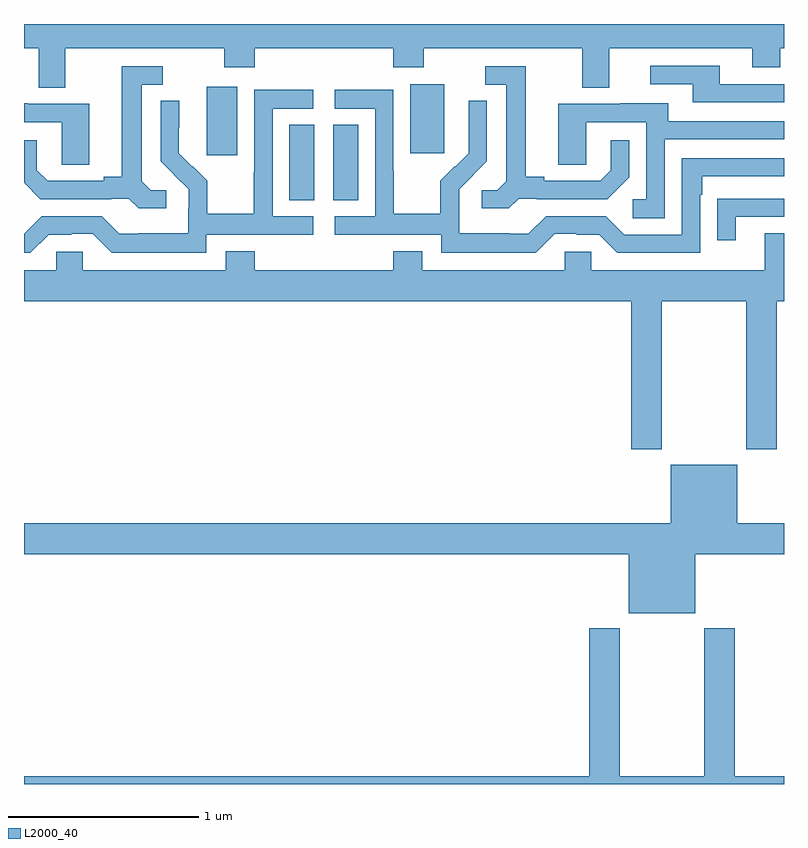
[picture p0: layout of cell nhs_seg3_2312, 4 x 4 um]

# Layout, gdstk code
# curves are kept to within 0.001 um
import gdstk
lib = gdstk.Library(unit=1e-6, precision=1e-09)
def R(c, l, rs):  # rectangles x0, y0, x1, y1
    for r in rs: c.add(gdstk.rectangle(r[:2], r[2:], *l))
def P(c, l, *ps):  # polygons
    for p in ps: c.add(gdstk.Polygon(p, *l))
L2000_40 = (2000, 40)

nhs_seg3_2312 = lib.new_cell('nhs_seg3_2312')
R(nhs_seg3_2312, L2000_40, [(232.397,677.473,232.528,677.87), (232.628,677.473,232.759,677.87), (231.962,677.709,232.123,678.07), (233.033,677.721,233.212,678.082)])
P(nhs_seg3_2312, L2000_40, [(231.217,678.272),(232.054,678.272),(232.054,678.173),(232.214,678.173),(232.214,678.272),(232.943,678.272),(232.943,678.173),(233.103,678.173),(233.103,678.272),(233.939,678.272),(233.939,678.064),(234.079,678.064),(234.079,678.272),(234.833,678.272),(234.833,678.173),(234.981,678.173),(234.981,678.272),(235,678.272),(235,678.4),(231,678.4),(231,678.272),(231.077,678.272),(231.077,678.064),(231.217,678.064)],
  [(235,678.084),(234.661,678.084),(234.661,678.18),(234.297,678.18),(234.297,678.084),(234.521,678.084),(234.521,677.988),(235,677.988)],
  [(233.604,677.481),(233.698,677.481),(233.698,677.478),(234.07,677.478),(234.186,677.594),(234.186,677.788),(234.089,677.788),(234.089,677.631),(234.032,677.574),(233.737,677.574),(233.737,677.597),(233.641,677.597),(233.641,678.177),(233.427,678.177),(233.427,678.081),(233.537,678.081),(233.537,677.573),(233.49,677.526),(233.409,677.526),(233.409,677.429),(233.552,677.429)],
  [(231.748,677.526),(231.666,677.526),(231.619,677.573),(231.619,678.081),(231.73,678.081),(231.73,678.177),(231.515,678.177),(231.515,677.597),(231.419,677.597),(231.419,677.574),(231.124,677.574),(231.067,677.631),(231.067,677.788),(231,677.788),(231,677.564),(231.086,677.478),(231.458,677.478),(231.458,677.481),(231.552,677.481),(231.604,677.429),(231.748,677.429)],
  [(233.793,677.295),(233.909,677.295),(233.909,677.292),(234.027,677.292),(234.123,677.196),(234.558,677.196),(234.558,677.501),(234.571,677.501),(234.571,677.598),(235,677.598),(235,677.694),(234.462,677.694),(234.462,677.292),(234.159,677.292),(234.063,677.388),(233.748,677.388),(233.655,677.295),(233.555,677.295),(233.555,677.299),(233.292,677.299),(233.292,677.433),(233.29,677.433),(233.29,677.53),(233.436,677.678),(233.436,677.996),(233.34,677.996),(233.34,677.842),(233.342,677.842),(233.342,677.72),(233.271,677.649),(233.268,677.652),(233.191,677.575),(233.191,677.401),(232.947,677.401),(232.947,677.624),(232.944,677.624),(232.944,678.054),(232.635,678.054),(232.635,677.955),(232.848,677.955),(232.848,677.388),(232.635,677.388),(232.635,677.292),(233.196,677.292),(233.196,677.195),(233.693,677.195)],
  [(231.96,677.292),(232.522,677.292),(232.522,677.388),(232.308,677.388),(232.308,677.955),(232.522,677.955),(232.522,678.054),(232.212,678.054),(232.212,677.621),(232.21,677.621),(232.21,677.401),(231.965,677.401),(231.965,677.575),(231.888,677.652),(231.885,677.649),(231.815,677.72),(231.815,677.855),(231.817,677.855),(231.817,677.996),(231.72,677.996),(231.72,677.678),(231.866,677.53),(231.866,677.433),(231.864,677.433),(231.864,677.299),(231.601,677.299),(231.601,677.295),(231.501,677.295),(231.408,677.388),(231.093,677.388),(231,677.295),(231,677.196),(231.033,677.196),(231.129,677.292),(231.248,677.292),(231.248,677.295),(231.363,677.295),(231.463,677.195),(231.96,677.195)],
  [(234.372,677.793),(235,677.793),(235,677.889),(234.391,677.889),(234.391,677.983),(234.137,677.983),(234.137,677.979),(233.813,677.979),(233.813,677.659),(233.958,677.659),(233.958,677.883),(234.276,677.883),(234.276,677.478),(234.204,677.478),(234.204,677.377),(234.372,677.377)],
  [(231.343,677.979),(231.019,677.979),(231.019,677.983),(231,677.983),(231,677.883),(231.198,677.883),(231.198,677.659),(231.343,677.659)],
  [(234.745,677.385),(235,677.385),(235,677.481),(234.751,677.481),(234.751,677.48),(234.649,677.48),(234.649,677.262),(234.745,677.262)],
  [(234.357,676.94),(234.802,676.94),(234.802,676.161),(234.962,676.161),(234.962,676.94),(235,676.94),(235,677.299),(234.899,677.299),(234.899,677.104),(233.985,677.104),(233.985,677.202),(233.847,677.202),(233.847,677.104),(233.095,677.104),(233.095,677.203),(232.943,677.203),(232.943,677.104),(232.214,677.104),(232.214,677.203),(232.061,677.203),(232.061,677.104),(231.309,677.104),(231.309,677.202),(231.171,677.202),(231.171,677.104),(231,677.104),(231,676.94),(234.197,676.94),(234.197,676.161),(234.357,676.161)],
  [(234.532,675.608),(235,675.608),(235,675.772),(234.754,675.772),(234.754,676.081),(234.404,676.081),(234.404,675.772),(231,675.772),(231,675.608),(234.182,675.608),(234.182,675.299),(234.532,675.299)],
  [(231,674.4),(235,674.4),(235,674.44),(234.74,674.44),(234.74,675.22),(234.58,675.22),(234.58,674.44),(234.135,674.44),(234.135,675.22),(233.975,675.22),(233.975,674.44),(231,674.44)])

lib.write_gds('nhs_seg3_2312.gds')
